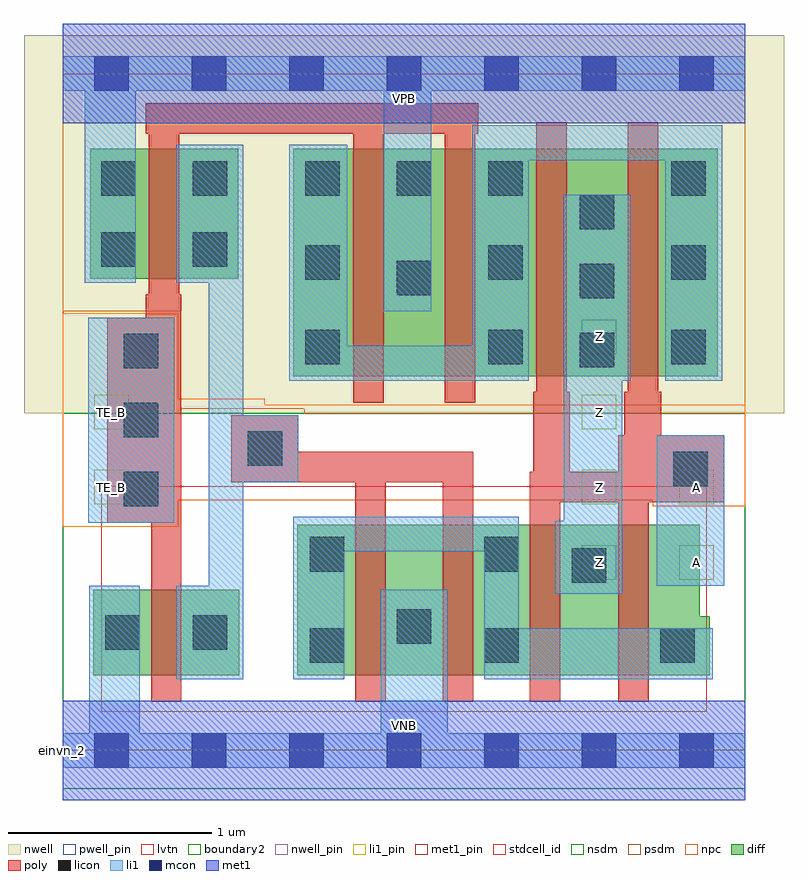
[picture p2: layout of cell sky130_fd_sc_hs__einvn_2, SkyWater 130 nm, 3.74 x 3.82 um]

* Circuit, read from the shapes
.subckt sky130_fd_sc_hs__einvn_2 A TE_B VGND VNB VPB VPWR Z
XM1 n1 TE_B VGND VNB sky130_fd_pr__nfet_01v8_lvt w=0.42 l=0.15
XM2 VGND n1 n2 VNB sky130_fd_pr__nfet_01v8_lvt w=0.74 l=0.15 m=2
XM3 Z A n2 VNB sky130_fd_pr__nfet_01v8_lvt w=0.74 l=0.15 m=2
XM4 n1 TE_B VPWR VPB sky130_fd_pr__pfet_01v8 w=0.64 l=0.15
XM5 VPWR TE_B n3 VPB sky130_fd_pr__pfet_01v8 w=1.12 l=0.15 m=2
XM6 Z A n3 VPB sky130_fd_pr__pfet_01v8 w=1.12 l=0.15 m=2
.ends

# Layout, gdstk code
import gdstk
lib = gdstk.Library(unit=1e-6, precision=1e-09)
def R(c, l, rs):  # rectangles x0, y0, x1, y1
    for r in rs: c.add(gdstk.rectangle(r[:2], r[2:], *l))
def A(c, l, x, y, w, h, nx, ny, dx, dy):  # array of equal rectangles
    R(c, l, [(x+i*dx, y+j*dy, x+i*dx+w, y+j*dy+h) for i in range(nx) for j in range(ny)])
def P(c, l, *ps):  # polygons
    for p in ps: c.add(gdstk.Polygon(p, *l))
nwell_pin = (64, 16)
nwell = (64, 20)
diff = (65, 20)
poly = (66, 20)
licon = (66, 44)
li1_pin = (67, 16)
li1 = (67, 20)
mcon = (67, 44)
met1_pin = (68, 16)
met1 = (68, 20)
stdcell_id = (81, 4)
nsdm = (93, 44)
psdm = (94, 20)
npc = (95, 20)
pwell_pin = (122, 16)
lvtn = (125, 44)
boundary2 = (236, 0)

sky130_fd_sc_hs__einvn_2 = lib.new_cell('sky130_fd_sc_hs__einvn_2')
R(sky130_fd_sc_hs__einvn_2, nwell_pin, [(0,3.085,3.36,3.33)])
R(sky130_fd_sc_hs__einvn_2, nwell, [(-0.19,1.66,3.55,3.52)])
R(sky130_fd_sc_hs__einvn_2, diff, [(0.15,0.37,0.87,0.79), (1.135,1.84,3.225,2.96), (0.135,2.32,0.865,2.96)])
P(sky130_fd_sc_hs__einvn_2, diff, [(3.185,0.66),(3.135,0.66),(3.135,1.11),(1.155,1.11),(1.155,0.37),(3.185,0.37)])
P(sky130_fd_sc_hs__einvn_2, poly, [(2.02,1.47),(1.16,1.47),(1.16,1.65),(0.83,1.65),(0.83,1.32),(1.44,1.32),(1.44,0.24),(1.59,0.24),(1.59,1.32),(1.87,1.32),(1.87,0.24),(2.02,0.24)],
  [(2.045,3.185),(0.41,3.185),(0.41,3.035),(0.425,3.035),(0.425,2.245),(0.41,2.245),(0.41,2.13),(0.22,2.13),(0.22,1.12),(0.435,1.12),(0.435,0.24),(0.585,0.24),(0.585,2.245),(0.575,2.245),(0.575,3.035),(1.43,3.035),(1.43,1.71),(1.58,1.71),(1.58,3.035),(1.88,3.035),(1.88,1.71),(2.03,1.71),(2.03,3.035),(2.045,3.035)],
  [(3.255,1.55),(2.945,1.55),(2.945,1.765),(2.93,1.765),(2.93,3.09),(2.78,3.09),(2.78,1.765),(2.765,1.765),(2.765,1.55),(2.735,1.55),(2.735,1.37),(2.495,1.37),(2.495,1.765),(2.48,1.765),(2.48,3.09),(2.33,3.09),(2.33,1.765),(2.315,1.765),(2.315,1.37),(2.3,1.37),(2.3,0.24),(2.45,0.24),(2.45,1.22),(2.735,1.22),(2.735,0.24),(2.885,0.24),(2.885,1.22),(3.255,1.22)])
A(sky130_fd_sc_hs__einvn_2, licon, 0.3, 1.2, 0.17, 0.17, 1, 3, 0, 0.34)
A(sky130_fd_sc_hs__einvn_2, licon, 2.545, 1.885, 0.17, 0.17, 1, 3, 0, 0.34)
A(sky130_fd_sc_hs__einvn_2, licon, 1.195, 1.9, 0.17, 0.17, 3, 2, 0.9, 0.415)
A(sky130_fd_sc_hs__einvn_2, licon, 1.195, 2.73, 0.17, 0.17, 3, 1, 0.45, 0)
R(sky130_fd_sc_hs__einvn_2, licon, [(1.215,0.43,1.385,0.6), (2.075,0.43,2.245,0.6), (2.94,0.43,3.11,0.6), (0.21,0.495,0.38,0.665), (0.64,0.495,0.81,0.665), (1.645,0.525,1.815,0.695), (2.505,0.825,2.675,0.995), (1.215,0.88,1.385,1.05), (2.075,0.88,2.245,1.05), (3.005,1.3,3.175,1.47), (0.91,1.4,1.08,1.57), (1.645,2.24,1.815,2.41), (0.19,2.38,0.36,2.55), (0.64,2.38,0.81,2.55), (0.19,2.73,0.36,2.9), (0.64,2.73,0.81,2.9), (2.995,2.73,3.165,2.9)])
A(sky130_fd_sc_hs__einvn_2, li1_pin, 2.555, 0.84, 0.17, 0.17, 1, 4, 0, 0.37)
R(sky130_fd_sc_hs__einvn_2, li1_pin, [(3.035,0.84,3.205,1.01), (0.155,1.21,0.325,1.38), (3.035,1.21,3.205,1.38), (0.155,1.58,0.325,1.75)])
R(sky130_fd_sc_hs__einvn_2, li1, [(2.925,0.81,3.255,1.55), (0.125,1.12,0.55,2.13)])
P(sky130_fd_sc_hs__einvn_2, li1, [(0.11,2.3),(0.11,3.245),(0,3.245),(0,3.415),(3.36,3.415),(3.36,3.245),(1.815,3.245),(1.815,2.16),(1.58,2.16),(1.58,3.245),(0.36,3.245),(0.36,2.3)],
  [(0.13,0.085),(0.13,0.81),(0.38,0.81),(0.38,0.085),(1.565,0.085),(1.565,0.79),(1.895,0.79),(1.895,0.085),(3.36,0.085),(3.36,-0.085),(0,-0.085),(0,0.085)],
  [(0.72,2.3),(0.56,2.3),(0.56,2.98),(0.89,2.98),(0.89,1.65),(1.16,1.65),(1.16,1.32),(0.89,1.32),(0.89,0.35),(0.56,0.35),(0.56,0.81),(0.72,0.81)],
  [(1.135,0.35),(1.135,1.15),(2.245,1.15),(2.245,0.6),(3.2,0.6),(3.2,0.35),(2.075,0.35),(2.075,0.98),(1.385,0.98),(1.385,0.35)],
  [(3.245,3.075),(2.015,3.075),(2.015,1.99),(1.4,1.99),(1.4,2.98),(1.115,2.98),(1.115,1.82),(2.295,1.82),(2.295,2.905),(2.965,2.905),(2.965,1.82),(3.245,1.82)],
  [(2.465,1.13),(2.465,2.735),(2.795,2.735),(2.795,1.82),(2.755,1.82),(2.755,0.77),(2.425,0.77),(2.425,1.13)])
A(sky130_fd_sc_hs__einvn_2, mcon, 0.155, -0.085, 0.17, 0.17, 7, 2, 0.48, 3.33)
R(sky130_fd_sc_hs__einvn_2, met1_pin, [(0,0,3.36,0.245), (0,3.085,3.36,3.33)])
R(sky130_fd_sc_hs__einvn_2, met1, [(0,-0.245,3.36,0.245), (0,3.085,3.36,3.575)])
R(sky130_fd_sc_hs__einvn_2, stdcell_id, [(0,0,3.36,3.33)])
R(sky130_fd_sc_hs__einvn_2, nsdm, [(0,-0.19,3.36,1.66)])
P(sky130_fd_sc_hs__einvn_2, psdm, [(3.36,3.52),(0,3.52),(0,2.16),(0.58,2.16),(0.58,1.68),(1.19,1.68),(1.19,1.66),(3.36,1.66)])
P(sky130_fd_sc_hs__einvn_2, npc, [(3.36,1.7),(0.995,1.7),(0.995,1.73),(0.57,1.73),(0.57,2.15),(0,2.15),(0,1.1),(0.57,1.1),(0.57,1.23),(2.905,1.23),(2.905,1.2),(3.36,1.2)])
R(sky130_fd_sc_hs__einvn_2, pwell_pin, [(0,0,3.36,0.245)])
R(sky130_fd_sc_hs__einvn_2, lvtn, [(0.19,0.19,3.17,1.3)])
R(sky130_fd_sc_hs__einvn_2, boundary2, [(0,0,3.36,3.33)])
sky130_fd_sc_hs__einvn_2.add(gdstk.Label('einvn_2', (0,0), layer=83, texttype=44))
sky130_fd_sc_hs__einvn_2.add(gdstk.Label('VNB', (1.68,0.123), layer=64, texttype=59))
sky130_fd_sc_hs__einvn_2.add(gdstk.Label('VPB', (1.68,3.208), layer=64, texttype=5))
sky130_fd_sc_hs__einvn_2.add(gdstk.Label('VPWR', (1.68,3.208), layer=68, texttype=5))
sky130_fd_sc_hs__einvn_2.add(gdstk.Label('VGND', (1.68,0.123), layer=68, texttype=5))
sky130_fd_sc_hs__einvn_2.add(gdstk.Label('TE_B', (0.24,1.295), layer=67, texttype=5))
sky130_fd_sc_hs__einvn_2.add(gdstk.Label('TE_B', (0.24,1.665), layer=67, texttype=5))
sky130_fd_sc_hs__einvn_2.add(gdstk.Label('A', (3.12,0.925), layer=67, texttype=5))
sky130_fd_sc_hs__einvn_2.add(gdstk.Label('A', (3.12,1.295), layer=67, texttype=5))
sky130_fd_sc_hs__einvn_2.add(gdstk.Label('Z', (2.64,0.925), layer=67, texttype=5))
sky130_fd_sc_hs__einvn_2.add(gdstk.Label('Z', (2.64,1.295), layer=67, texttype=5))
sky130_fd_sc_hs__einvn_2.add(gdstk.Label('Z', (2.64,1.665), layer=67, texttype=5))
sky130_fd_sc_hs__einvn_2.add(gdstk.Label('Z', (2.64,2.035), layer=67, texttype=5))

lib.write_gds('sky130_fd_sc_hs__einvn_2.gds')
